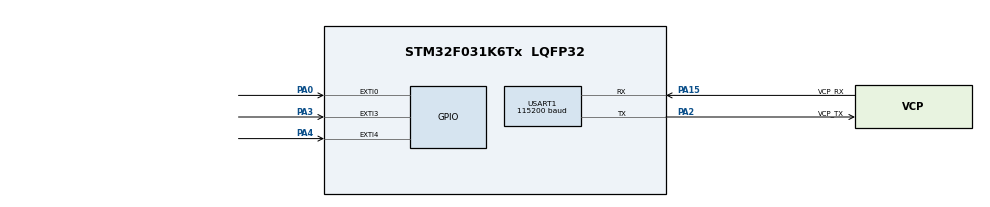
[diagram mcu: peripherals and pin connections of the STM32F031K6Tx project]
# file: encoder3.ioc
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Mcu.Family=STM32F0
Mcu.Name=STM32F031K6Tx
Mcu.Package=LQFP32
NVIC.EXTI0_1_IRQn=true\:0\:0\:false\:false\:true\:true\:true
NVIC.EXTI2_3_IRQn=true\:0\:0\:false\:false\:true\:true\:true
NVIC.EXTI4_15_IRQn=true\:0\:0\:false\:false\:true\:true\:true
PA0.GPIO_ModeDefaultEXTI=GPIO_MODE_IT_RISING_FALLING
PA0.GPIO_PuPd=GPIO_PULLUP
PA0.Signal=GPXTI0
PA13.GPIO_Label=SWDIO
PA13.Mode=Serial_Wire
PA13.Signal=SYS_SWDIO
PA14.GPIO_Label=SWCLK
PA14.Mode=Serial_Wire
PA14.Signal=SYS_SWCLK
PA15.GPIO_Label=VCP_RX
PA15.Mode=Asynchronous
PA15.Signal=USART1_RX
PA2.GPIO_Label=VCP_TX
PA2.Mode=Asynchronous
PA2.Signal=USART1_TX
PA3.GPIO_ModeDefaultEXTI=GPIO_MODE_IT_RISING_FALLING
PA3.GPIO_PuPd=GPIO_PULLUP
PA3.Signal=GPXTI3
PA4.GPIO_ModeDefaultEXTI=GPIO_MODE_IT_FALLING
PA4.GPIO_PuPd=GPIO_PULLUP
PA4.Signal=GPXTI4
PF0-OSC_IN.Mode=HSE-External-Clock-Source
PF0-OSC_IN.Signal=RCC_OSC_IN
ProjectManager.HeapSize=0x200
ProjectManager.StackSize=0x400
ProjectManager.TargetToolchain=SW4STM32
USART1.BaudRate=115200
USART1.VirtualMode-Asynchronous=VM_ASYNC
board=NUCLEO-F031K6

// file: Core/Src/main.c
/* USER CODE BEGIN Header */
/**
  ******************************************************************************
  * @file           : main.c
  * @brief          : Main program body
  ******************************************************************************
  * @attention
  *
  * Copyright (c) 2022 STMicroelectronics.
  * All rights reserved.
  *
  * This software is licensed under terms that can be found in the LICENSE file
  * in the root directory of this software component.
  * If no LICENSE file comes with this software, it is provided AS-IS.
  *
  ******************************************************************************
  */
/* USER CODE END Header */
#include "main.h"

UART_HandleTypeDef huart1;

/* USER CODE BEGIN PV */
uint8_t counterZ;
char dataA[1];
char dataB[1];
char counterZstr[1];
uint32_t DataToSendLen;
uint32_t DataToSend[50];
uint32_t x;
uint32_t new_x;
uint8_t sw=1;
uint32_t counter=0;

/* USER CODE END PV */

void SystemClock_Config(void);
static void MX_GPIO_Init(void);
static void MX_USART1_UART_Init(void);

int main(void)
{

  /* MCU Configuration--------------------------------------------------------*/

  /* Reset of all peripherals, Initializes the Flash interface and the Systick. */
  HAL_Init();

  /* Configure the system clock */
  SystemClock_Config();

  /* Initialize all configured peripherals */
  MX_GPIO_Init();
  MX_USART1_UART_Init();
  /* USER CODE BEGIN 2 */
  x = GPIOA->IDR;
  x = (x&0x01)|((x>>2)&(0x02));
  /* USER CODE END 2 */

  /* Infinite loop */
  /* USER CODE BEGIN WHILE */
  while (1)
  {
	 // HAL_UART_Transmit(&huart1, counter, 1, 1000);
	 // HAL_UART_Transmit(&huart1, &counter, 2, 1000);
	//  HAL_Delay(100);

	      DataToSendLen = snprintf(DataToSend, 50,  "%d\n\r", counter);
	      HAL_UART_Transmit(&huart1, DataToSend, DataToSendLen,20);
	      HAL_Delay(100);
    /* USER CODE END WHILE */

  }
}

void SystemClock_Config(void)
{
  RCC_OscInitTypeDef RCC_OscInitStruct = {0};
  RCC_ClkInitTypeDef RCC_ClkInitStruct = {0};
  RCC_PeriphCLKInitTypeDef PeriphClkInit = {0};

  /** Initializes the RCC Oscillators according to the specified parameters
  * in the RCC_OscInitTypeDef structure.
  */
  RCC_OscInitStruct.OscillatorType = RCC_OSCILLATORTYPE_HSI;
  RCC_OscInitStruct.HSIState = RCC_HSI_ON;
  RCC_OscInitStruct.HSICalibrationValue = RCC_HSICALIBRATION_DEFAULT;
  RCC_OscInitStruct.PLL.PLLState = RCC_PLL_NONE;
  if (HAL_RCC_OscConfig(&RCC_OscInitStruct) != HAL_OK)
  {
    Error_Handler();
  }
  /** Initializes the CPU, AHB and APB buses clocks
  */
  RCC_ClkInitStruct.ClockType = RCC_CLOCKTYPE_HCLK|RCC_CLOCKTYPE_SYSCLK
                              |RCC_CLOCKTYPE_PCLK1;
  RCC_ClkInitStruct.SYSCLKSource = RCC_SYSCLKSOURCE_HSI;
  RCC_ClkInitStruct.AHBCLKDivider = RCC_SYSCLK_DIV1;
  RCC_ClkInitStruct.APB1CLKDivider = RCC_HCLK_DIV1;

  if (HAL_RCC_ClockConfig(&RCC_ClkInitStruct, FLASH_LATENCY_0) != HAL_OK)
  {
    Error_Handler();
  }
  PeriphClkInit.PeriphClockSelection = RCC_PERIPHCLK_USART1;
  PeriphClkInit.Usart1ClockSelection = RCC_USART1CLKSOURCE_PCLK1;
  if (HAL_RCCEx_PeriphCLKConfig(&PeriphClkInit) != HAL_OK)
  {
    Error_Handler();
  }
}

static void MX_USART1_UART_Init(void)
{

  huart1.Instance = USART1;
  huart1.Init.BaudRate = 115200;
  huart1.Init.WordLength = UART_WORDLENGTH_8B;
  huart1.Init.StopBits = UART_STOPBITS_1;
  huart1.Init.Parity = UART_PARITY_NONE;
  huart1.Init.Mode = UART_MODE_TX_RX;
  huart1.Init.HwFlowCtl = UART_HWCONTROL_NONE;
  huart1.Init.OverSampling = UART_OVERSAMPLING_16;
  huart1.Init.OneBitSampling = UART_ONE_BIT_SAMPLE_DISABLE;
  huart1.AdvancedInit.AdvFeatureInit = UART_ADVFEATURE_NO_INIT;
  if (HAL_UART_Init(&huart1) != HAL_OK)
  {
    Error_Handler();
  }

}

static void MX_GPIO_Init(void)
{
  GPIO_InitTypeDef GPIO_InitStruct = {0};

  /* GPIO Ports Clock Enable */
  __HAL_RCC_GPIOF_CLK_ENABLE();
  __HAL_RCC_GPIOA_CLK_ENABLE();

  /*Configure GPIO pins : PA0 PA3 */
  GPIO_InitStruct.Pin = GPIO_PIN_0|GPIO_PIN_3;
  GPIO_InitStruct.Mode = GPIO_MODE_IT_RISING_FALLING;
  GPIO_InitStruct.Pull = GPIO_PULLUP;
  HAL_GPIO_Init(GPIOA, &GPIO_InitStruct);

  /*Configure GPIO pin : PA4 */
  GPIO_InitStruct.Pin = GPIO_PIN_4;
  GPIO_InitStruct.Mode = GPIO_MODE_IT_FALLING;
  GPIO_InitStruct.Pull = GPIO_PULLUP;
  HAL_GPIO_Init(GPIOA, &GPIO_InitStruct);

  /* EXTI interrupt init*/
  HAL_NVIC_SetPriority(EXTI0_1_IRQn, 0, 0);
  HAL_NVIC_EnableIRQ(EXTI0_1_IRQn);

  HAL_NVIC_SetPriority(EXTI2_3_IRQn, 0, 0);
  HAL_NVIC_EnableIRQ(EXTI2_3_IRQn);

  HAL_NVIC_SetPriority(EXTI4_15_IRQn, 0, 0);
  HAL_NVIC_EnableIRQ(EXTI4_15_IRQn);

}

void Error_Handler(void)
{
  __disable_irq();
  while (1)
  {
  }
}
